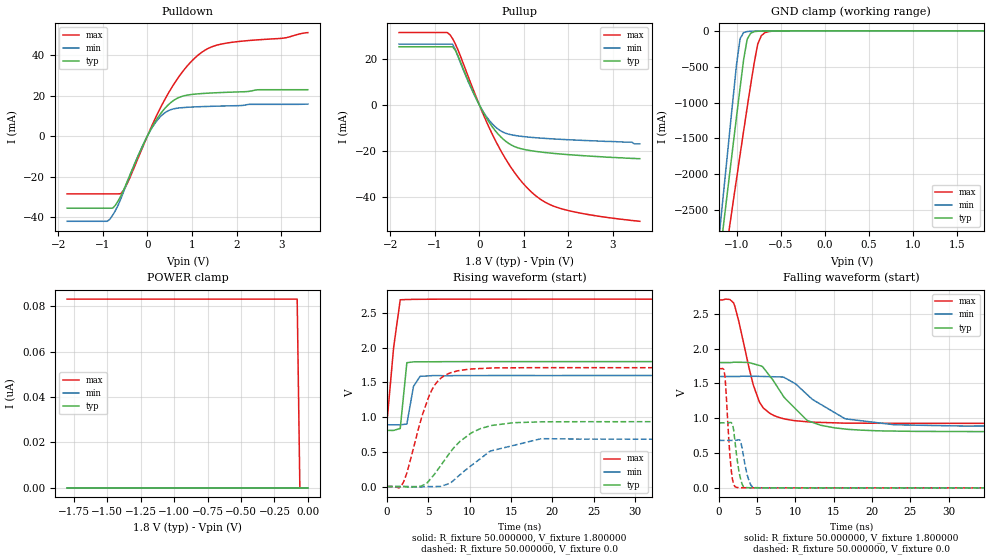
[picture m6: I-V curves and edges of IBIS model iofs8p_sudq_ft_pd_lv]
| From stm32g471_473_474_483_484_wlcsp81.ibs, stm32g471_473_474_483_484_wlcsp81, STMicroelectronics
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|   Model iofs8p_sudq_ft_pd_lv
[Model]  iofs8p_sudq_ft_pd_lv
Model_type I/O
Polarity   Non-Inverting
Enable   Active-Low
Vinl =   0.540000V
Vinh =   1.260000V
Vmeas =  0.900000V
Cref =   40.000000pF
Rref =   100.000000M
Vref =   0.0V
C_comp   1.984800pF   1.899400pF   2.077500pF
[Temperature Range]   25.000000   -40.000000   0.125000k
[Pullup Reference]   1.800000V   1.600000V   2.700000V
[Pulldown Reference]   0.0V   0.0V   0.0V
[POWER Clamp Reference]   1.800000V   1.600000V   2.700000V
[GND Clamp Reference]   0.0V   0.0V   0.0V
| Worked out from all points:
|   slope of the pulldown table from 0 to 0.27 V, typ, clamps not added: 26.4 ohm
|   slope of the pullup table from 0 to 0.27 V, typ, clamps not added: 30.1 ohm
|   GND clamp passes 1 mA (typ) near -0.60 V on its own axis
|   rising waveform, R_fixture 50.000000, V_fixture 1.800000: 20-80 % time 503ps typ, 698ps min, 936ps max; typ from 0.808 V to 1.8 V
|   rising waveform, R_fixture 50.000000, V_fixture 0.0: 20-80 % time 4.11ns typ, 5.19ns min, 2.6ns max; typ from 0 V to 0.933 V
|   falling waveform, R_fixture 50.000000, V_fixture 1.800000: 20-80 % time 4.49ns typ, 5.51ns min, 2.44ns max; typ from 1.8 V to 0.808 V
|   falling waveform, R_fixture 50.000000, V_fixture 0.0: 20-80 % time 694ps typ, 759ps min, 595ps max; typ from 0.933 V to 0 V
[Pulldown]
|Voltage   I(typ)   I(min)   I(max)
-1.8V     -35.64mA   -42.15mA   -28.59mA
-900mV    -35.64mA   -42.15mA   -28.59mA
-780mV    -35.64mA   -39.2mA    -28.59mA
-600mV    -29.83mA   -31.31mA   -28.52mA
-420mV    -20.8mA    -21.07mA   -21.98mA
60mV      2.604mA    2.459mA    3.062mA
240mV     9.303mA    8.31mA     11.61mA
480mV     15.67mA    12.64mA    21.52mA
720mV     19.18mA    13.91mA    29.74mA
960mV     20.46mA    14.3mA     36.27mA
1.44V     21.29mA    14.7mA     44.06mA
3.6V      22.91mA    15.79mA    51.15mA
[Pullup]
|Voltage   I(typ)   I(min)   I(max)
-1.8V     25.2mA     26.34mA    31.36mA
-660mV    25.2mA     26.34mA    30.46mA
-600mV    25.2mA     26.34mA    28.77mA
-540mV    23.79mA    24.11mA    26.53mA
-60mV     2.392mA    2.26mA     2.893mA
300mV     -9.801mA   -8.48mA    -13.12mA
480mV     -13.91mA   -11.33mA   -19.82mA
720mV     -17.48mA   -13.04mA   -27.45mA
1.26V     -20.22mA   -14.3mA    -39.41mA
1.56V     -20.91mA   -14.71mA   -43.13mA
1.98V     -21.62mA   -15.16mA   -45.85mA
3.6V      -23.4mA    -17mA      -50.6mA
[GND_clamp]
|Voltage   I(typ)   I(min)   I(max)
-1.8V     -9.477A    -9.805A    -9.016A
-1.2V     -3.243A    -2.9A      -3.759A
-1.16V    -2.83A     -2.409A    -3.417A
-1.12V    -2.418A    -1.919A    -3.076A
-1.08V    -2.008A    -1.431A    -2.736A
-1V       -1.194A    -466mA     -2.061A
-960mV    -792.8mA   -108.7mA   -1.727A
-920mV    -402mA     -24.36mA   -1.396A
-880mV    -117.8mA   -9.2mA     -1.071A
-760mV    -5.909mA   -2.892mA   -183.8mA
-680mV    -2.407mA   -1.111mA   -26.63mA
1.8V      47.61uA    33.87uA    60.56uA
[POWER_clamp]
|Voltage   I(typ)   I(min)   I(max)
-1.8V     0A         0A         83.17nA
-80mV     0A         0A         83.17nA
-60mV     0A         0A         0A
0V        0A         0A         0A
[Ramp]
| variable   typ   min   max
dV/dt_r  0.56000/4.10362n   0.40942/5.21625n   1.02672/2.59589n
dV/dt_f  0.59504/4.48853n   0.42591/5.49286n   1.06363/2.43827n
R_load = 50.000000
[Rising Waveform]
R_fixture= 50.000000
V_fixture= 1.800000
V_fixture_min= 1.600000
V_fixture_max= 2.700000
|time   V(typ)   V(min)   V(max)
0s        807.9mV    888.7mV    926.4mV
800.8ps   807.7mV    888.7mV    2V
1.602ns   836.3mV    888.7mV    2.689V
2.402ns   1.784V     899.7mV    2.693V
3.203ns   1.795V     1.44V      2.695V
4.004ns   1.796V     1.587V     2.696V
5.606ns   1.797V     1.598V     2.697V
79.28ns   1.799V     1.599V     2.699V
[Rising Waveform]
R_fixture= 50.000000
V_fixture= 0.0
V_fixture_min= 0.0
V_fixture_max= 0.0
|time   V(typ)   V(min)   V(max)
0s        959.1nV    708.8nV    1.579uV
1.441ns   16.7uV     -615.4nV   -19.31mV
2.082ns   -221.7uV   116.1nV    88.07mV
4.324ns   17.15mV    -4.67mV    1.047V
5.766ns   180.7mV    -547uV     1.459V
6.887ns   367.1mV    16.93mV    1.592V
8.649ns   628.2mV    150.9mV    1.668V
12.49ns   874.2mV    510.3mV    1.706V
18.74ns   931.2mV    689.4mV    1.712V
79.76ns   933.5mV    681.5mV    1.711V
[Falling Waveform]
R_fixture= 50.000000
V_fixture= 1.800000
V_fixture_min= 1.600000
V_fixture_max= 2.700000
|time   V(typ)   V(min)   V(max)
0s        1.799V     1.599V     2.699V
1.922ns   1.805V     1.599V     2.655V
4.484ns   1.782V     1.602V     1.48V
5.285ns   1.757V     1.601V     1.235V
8.809ns   1.267V     1.568V     984.4mV
11.53ns   967.4mV    1.339V     948.9mV
13.29ns   899.2mV    1.2V       939.8mV
16.5ns    844.5mV    991.4mV    929.4mV
22.9ns    815.3mV    906.3mV    926.9mV
79.76ns   807.9mV    888.7mV    926.4mV
[Falling Waveform]
R_fixture= 50.000000
V_fixture= 0.0
V_fixture_min= 0.0
V_fixture_max= 0.0
|time   V(typ)   V(min)   V(max)
0s        933.5mV    681.5mV    1.711V
800.8ps   933.4mV    681.5mV    1.595V
1.602ns   937.9mV    681.4mV    260.3mV
1.922ns   833.4mV    681.1mV    51.84mV
2.402ns   393.2mV    686.5mV    4.86mV
2.883ns   106.8mV    648mV      2.297mV
3.203ns   18.04mV    463.2mV    1.884mV
4.004ns   2.003mV    80.11mV    1.241mV
4.645ns   1.405mV    3.507mV    933.5uV
79.76ns   959.1nV    708.8nV    1.579uV
